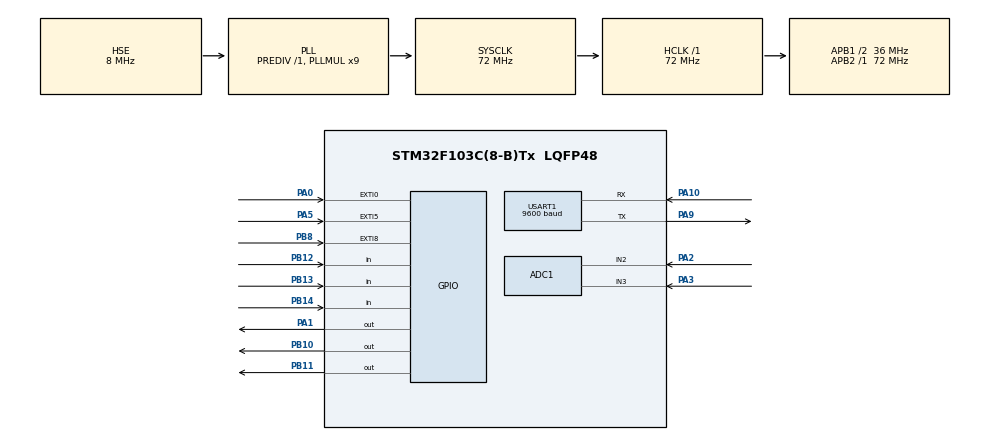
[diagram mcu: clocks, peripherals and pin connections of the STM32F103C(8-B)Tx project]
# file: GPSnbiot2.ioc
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ADC1.Channel-0\#ChannelRegularConversion=ADC_CHANNEL_2
ADC1.Channel-1\#ChannelRegularConversion=ADC_CHANNEL_3
ADC1.ContinuousConvMode=DISABLE
ADC1.DiscontinuousConvMode=ENABLE
ADC1.NbrOfConversion=2
ADC1.NbrOfConversionFlag=1
ADC1.Rank-0\#ChannelRegularConversion=1
ADC1.Rank-1\#ChannelRegularConversion=2
ADC1.SamplingTime-0\#ChannelRegularConversion=ADC_SAMPLETIME_1CYCLE_5
ADC1.SamplingTime-1\#ChannelRegularConversion=ADC_SAMPLETIME_1CYCLE_5
ADC1.master=1
Mcu.Family=STM32F1
Mcu.Name=STM32F103C(8-B)Tx
Mcu.Package=LQFP48
NVIC.EXTI0_IRQn=true\:1\:0\:true\:false\:true\:true\:true
NVIC.PriorityGroup=NVIC_PRIORITYGROUP_4
NVIC.RTC_Alarm_IRQn=true\:1\:0\:true\:false\:true\:true\:true
NVIC.USART1_IRQn=true\:1\:0\:true\:false\:true\:true\:true
PA0-WKUP.Signal=GPXTI0
PA1.GPIO_PuPd=GPIO_PULLUP
PA1.PinState=GPIO_PIN_SET
PA1.Signal=GPIO_Output
PA10.Mode=Asynchronous
PA10.Signal=USART1_RX
PA13.Mode=Serial_Wire
PA13.Signal=SYS_JTMS-SWDIO
PA14.Mode=Serial_Wire
PA14.Signal=SYS_JTCK-SWCLK
PA2.Signal=ADCx_IN2
PA3.Signal=ADCx_IN3
PA5.GPIO_ModeDefaultEXTI=GPIO_MODE_IT_RISING
PA5.GPIO_PuPd=GPIO_PULLDOWN
PA5.Signal=GPXTI5
PA9.Mode=Asynchronous
PA9.Signal=USART1_TX
PB10.Signal=GPIO_Output
PB11.Signal=GPIO_Output
PB12.GPIO_PuPd=GPIO_PULLDOWN
PB12.Signal=GPIO_Input
PB13.GPIO_PuPd=GPIO_PULLDOWN
PB13.Signal=GPIO_Input
PB14.GPIO_PuPd=GPIO_PULLDOWN
PB14.Signal=GPIO_Input
PB8.GPIO_ModeDefaultEXTI=GPIO_MODE_IT_RISING
PB8.GPIO_PuPd=GPIO_PULLDOWN
PB8.Signal=GPXTI8
PD0-OSC_IN.Mode=HSE-External-Oscillator
PD0-OSC_IN.Signal=RCC_OSC_IN
PD1-OSC_OUT.Mode=HSE-External-Oscillator
PD1-OSC_OUT.Signal=RCC_OSC_OUT
ProjectManager.HeapSize=0x200
ProjectManager.StackSize=0x400
ProjectManager.TargetToolchain=MDK-ARM V5.32
RCC.ADCPresc=RCC_ADCPCLK2_DIV6
RCC.AHBFreq_Value=72000000
RCC.APB1CLKDivider=RCC_HCLK_DIV2
RCC.APB1Freq_Value=36000000
RCC.APB1TimFreq_Value=72000000
RCC.APB2Freq_Value=72000000
RCC.APB2TimFreq_Value=72000000
RCC.HCLKFreq_Value=72000000
RCC.PLLMUL=RCC_PLL_MUL9
RCC.PLLSourceVirtual=RCC_PLLSOURCE_HSE
RCC.SYSCLKFreq_VALUE=72000000
RCC.SYSCLKSource=RCC_SYSCLKSOURCE_PLLCLK
RCC.USBFreq_Value=72000000
RTC.Date=1
RTC.Format=RTC_FORMAT_BIN
RTC.Hours=0
RTC.Month=RTC_MONTH_JUNE
RTC.OutPut=RTC_OUTPUTSOURCE_ALARM
RTC.WeekDay=RTC_WEEKDAY_SUNDAY
RTC.Year=0
SH.ADCx_IN2.0=ADC1_IN2,IN2
SH.ADCx_IN3.0=ADC1_IN3,IN3
USART1.BaudRate=9600
USART1.VirtualMode=VM_ASYNC
VP_RTC_VS_RTC_Activate.Mode=RTC_Enabled
VP_RTC_VS_RTC_Calendar.Mode=RTC_Calendar
board=custom

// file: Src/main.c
/* USER CODE BEGIN Header */
/**
 ******************************************************************************
 * @file           : main.c
 * @brief          : Main program body
 ******************************************************************************
 * @attention
 *
 * <h2><center>&copy; Copyright (c) 2024 STMicroelectronics.
 * All rights reserved.</center></h2>
 *
 * This software component is licensed by ST under BSD 3-Clause license,
 * the "License"; You may not use this file except in compliance with the
 * License. You may obtain a copy of the License at:
 *                        opensource.org/licenses/BSD-3-Clause
 *
 ******************************************************************************
 */
/* USER CODE END Header */
#include "main.h"
#include "adc.h"
#include "rtc.h"
#include "usart.h"
#include "gpio.h"

/* USER CODE BEGIN Includes */
#include "config.h"
#include "nbiot.h"
#include "pack.h"
#include "sample.h"
#include "stdio.h"
#include "string.h"
#include <stdlib.h>

/* USER CODE END Includes */

/* USER CODE BEGIN PTD */

uint32_t ADC_Buffer[ADC_CHANNELS];
OneThunderData OneDate;
/* USER CODE END PTD */

/* USER CODE BEGIN PV */

uint8_t dev_state = DEV_INIT;
uint8_t RTC_Alarm_flag = 0;
uint32_t rdy_send_time = 0;
uint8_t sample_flag = 0;
uint8_t enter_stop = 0;
uint32_t uuid = 0x0;
extern uint16_t battery;
extern uint32_t thunder1;
extern ThunderData payload[PAYLOAD_MAX_SIZE];
extern UPackage package;
const char *cmd1 = "+++";
const char *cmd2 = "AT+CFUN=1,1\r\n";
const char *cmd3 = "ATO\r\n";
uint32_t CpuID[3];							//小端模式
uint32_t hashed_value = 0;
uint32_t timeout_counter = 0;

/* USER CODE END PV */

void SystemClock_Config(void);

/* USER CODE BEGIN 0 */
uint32_t rtc_ts = 0;

/* USER CODE END 0 */

int main(void)
{

  /* MCU Configuration--------------------------------------------------------*/

  /* Reset of all peripherals, Initializes the Flash interface and the Systick. */
  HAL_Init();

  /* USER CODE BEGIN Init */
//  uuid = HAL_GetDEVID();
  /* USER CODE END Init */

  /* Configure the system clock */
  SystemClock_Config();

  /* USER CODE BEGIN SysInit */
  dev_state = DEV_INIT;
  /* USER CODE END SysInit */

  /* Initialize all configured peripherals */
  MX_GPIO_Init();
  MX_ADC1_Init();
  MX_USART1_UART_Init();
  MX_RTC_Init();
  /* USER CODE BEGIN 2 */
  dev_state = DEV_WORK;
  RTC_Set_Alarm();
  init_package();
	GetChipID();
	hashed_value = hash_cpu_id(CpuID[0], CpuID[1], CpuID[2]);
	hashed_value = hashed_value * 10;
  while (1) {
    // RTC clk will use LSE (now LSI 40Khz is not accurate)
    rtc_ts = RTC_Get_Timestamp();
//    static int RTC_LED = 1;

    if (RTC_Alarm_flag == 1) {
//      HAL_GPIO_WritePin(GPIOB, GPIO_PIN_10, RTC_LED);
//	  HAL_GPIO_WritePin(GPIOB, GPIO_PIN_11, (RTC_LED) ? GPIO_PIN_SET : GPIO_PIN_RESET);
//      RTC_LED = !RTC_LED;
//		rdy_send_time = uwTick;
      // Send data if connected to server
//      if (IO_NB_NETMODE && IO_NB_LINK) {
		if (IO_NB_LINK) {
				sample_adc(0);
				send_package(battery, RTC_Get_Timestamp());
				HAL_Delay(5000);
				RTC_Set_Alarm();
				RTC_Alarm_flag = 0;}
       else {
        // 1. Reset NBIOT_DTU If timeout (60s)
        if (uwTick - rdy_send_time >= 1000 * 60) {
				HAL_GPIO_WritePin(GPIOA,GPIO_PIN_1,GPIO_PIN_RESET);
				HAL_GPIO_WritePin(GPIOA,GPIO_PIN_1,GPIO_PIN_SET);
        }
        // 2. Reset Fail, cancel sending task and enter low-power mode
        else if (uwTick - rdy_send_time >= 1000 * 120) {
          RTC_Set_Alarm();
          RTC_Alarm_flag = 0;
        }
      }
    }
    // Here feed watchdog (enbale it when everything is finished)
    // Feed();

    // No more task:
    if (!sample_flag && !RTC_Alarm_flag) {
      // 1. MCU and NB-iot Enter low-power mode

       sys_enter_stop_mode();

      // 2. Recovery MCU and NB-iot state
       sys_out_stop_mode();
		if(sample_flag == 1){
			sample_adc(1);
			HAL_UART_Transmit(&huart1,(uint8_t*)&thunder1,sizeof(thunder1),100);
			HAL_UART_Transmit(&huart1,(uint8_t*)&battery,sizeof(battery),100);
			}
		}
		sample_flag = 0;
    }
  }

  /* USER CODE END 2 */

  /* Infinite loop */

void SystemClock_Config(void)
{
  RCC_OscInitTypeDef RCC_OscInitStruct = {0};
  RCC_ClkInitTypeDef RCC_ClkInitStruct = {0};
  RCC_PeriphCLKInitTypeDef PeriphClkInit = {0};

  /** Initializes the RCC Oscillators according to the specified parameters
  * in the RCC_OscInitTypeDef structure.
  */
  RCC_OscInitStruct.OscillatorType = RCC_OSCILLATORTYPE_LSI|RCC_OSCILLATORTYPE_HSE;
  RCC_OscInitStruct.HSEState = RCC_HSE_ON;
  RCC_OscInitStruct.HSEPredivValue = RCC_HSE_PREDIV_DIV1;
  RCC_OscInitStruct.HSIState = RCC_HSI_ON;
  RCC_OscInitStruct.LSIState = RCC_LSI_ON;
  RCC_OscInitStruct.PLL.PLLState = RCC_PLL_ON;
  RCC_OscInitStruct.PLL.PLLSource = RCC_PLLSOURCE_HSE;
  RCC_OscInitStruct.PLL.PLLMUL = RCC_PLL_MUL9;
  if (HAL_RCC_OscConfig(&RCC_OscInitStruct) != HAL_OK)
  {
    Error_Handler();
  }
  /** Initializes the CPU, AHB and APB buses clocks
  */
  RCC_ClkInitStruct.ClockType = RCC_CLOCKTYPE_HCLK|RCC_CLOCKTYPE_SYSCLK
                              |RCC_CLOCKTYPE_PCLK1|RCC_CLOCKTYPE_PCLK2;
  RCC_ClkInitStruct.SYSCLKSource = RCC_SYSCLKSOURCE_PLLCLK;
  RCC_ClkInitStruct.AHBCLKDivider = RCC_SYSCLK_DIV1;
  RCC_ClkInitStruct.APB1CLKDivider = RCC_HCLK_DIV2;
  RCC_ClkInitStruct.APB2CLKDivider = RCC_HCLK_DIV1;

  if (HAL_RCC_ClockConfig(&RCC_ClkInitStruct, FLASH_LATENCY_2) != HAL_OK)
  {
    Error_Handler();
  }
  PeriphClkInit.PeriphClockSelection = RCC_PERIPHCLK_RTC|RCC_PERIPHCLK_ADC;
  PeriphClkInit.RTCClockSelection = RCC_RTCCLKSOURCE_LSI;
  PeriphClkInit.AdcClockSelection = RCC_ADCPCLK2_DIV6;
  if (HAL_RCCEx_PeriphCLKConfig(&PeriphClkInit) != HAL_OK)
  {
    Error_Handler();
  }
}

/* USER CODE BEGIN 4 */
void HAL_GPIO_EXTI_Callback(uint16_t GPIO_Pin){
	if (GPIO_Pin == GPIO_PIN_0){
		sample_flag = 1;
//		sample_adc(1);
////		OneDate.battery = battery;
////		OneDate.thunder1 = thunder1;
////		OneDate.timestamp = RTC_Get_Timestamp();
////		OneDate.uuid = hashed_value;
//		HAL_UART_Transmit(&huart1,(uint8_t*)&hashed_value,sizeof(hashed_value),100);
//		HAL_UART_Transmit(&huart1,(uint8_t*)&thunder1,sizeof(thunder1),100);
//		HAL_UART_Transmit(&huart1,(uint8_t*)&battery,sizeof(battery),100);
////		HAL_UART_Transmit(&huart1,(uint8_t*)&OneDate,sizeof(OneDate),100);
////		sample_flag = 0;
}
}

void sys_enter_stop_mode(void) {
  __HAL_RCC_PWR_CLK_ENABLE();
  __HAL_RCC_BKP_CLK_ENABLE();

  HAL_PWR_DisableWakeUpPin(PWR_WAKEUP_PIN1);
  __HAL_PWR_CLEAR_FLAG(PWR_FLAG_WU);

  enter_stop = 1;

  HAL_PWR_EnableWakeUpPin(PWR_WAKEUP_PIN1);
  HAL_SuspendTick();
	HAL_GPIO_WritePin(GPIOA,GPIO_PIN_1,GPIO_PIN_RESET);

  HAL_PWR_EnterSTOPMode(PWR_LOWPOWERREGULATOR_ON, PWR_STOPENTRY_WFI);
	  // 1. 等待UART发送完成
//  while (huart1.gState != HAL_UART_STATE_READY) {
//    __NOP();
//  }

//  // 2. 关闭外设时钟（降低功耗）
//  __HAL_RCC_ADC1_CLK_DISABLE();
//  __HAL_RCC_USART1_CLK_DISABLE();

//  // 3. 配置唤醒源
//  HAL_PWR_DisableWakeUpPin(PWR_WAKEUP_PIN1);
//  __HAL_PWR_CLEAR_FLAG(PWR_FLAG_WU);
//  HAL_PWR_EnableWakeUpPin(PWR_WAKEUP_PIN1);

//  // 4. 关闭NB-IoT模块电源（确保发送完成后）
//  HAL_GPIO_WritePin(GPIOA, GPIO_PIN_1, GPIO_PIN_RESET);

//  // 5. 进入停机模式
//  HAL_SuspendTick();
//  HAL_PWR_EnterSTOPMode(PWR_LOWPOWERREGULATOR_ON, PWR_STOPENTRY_WFI);
}
void sys_out_stop_mode(void) {
  SystemClock_Config();
  MX_GPIO_Init();
  MX_ADC1_Init();
  MX_USART1_UART_Init();
  HAL_ResumeTick();
	  // 1. 恢复时钟（确保HSE/PLL稳定）
//  SystemClock_Config();

//  // 2. 重新启用关键外设时钟
//  __HAL_RCC_GPIOA_CLK_ENABLE();
//  __HAL_RCC_USART1_CLK_ENABLE();

//  // 3. 重新初始化GPIO（确保UART引脚复用）
//  MX_GPIO_Init();

//  // 4. 重新初始化UART（恢复波特率等配置）
//  MX_USART1_UART_Init();

//  // 5. 恢复NB-IoT模块电源
//  HAL_GPIO_WritePin(GPIOA, GPIO_PIN_1, GPIO_PIN_SET);
//    HAL_Delay(1000); // 等待NB-IoT模块启动

//  // 6. 恢复系统节拍定时器
//  HAL_ResumeTick();
}
void GetChipID ( void )
{
    CpuID[0] = * ( uint32_t * ) ( 0x1ffff7e8 ); //高32位地址
    CpuID[1] = * ( uint32_t * ) ( 0x1ffff7ec ); //中32位地址
    CpuID[2] = * ( uint32_t * ) ( 0x1ffff7f0 ); //低32位地址
}
uint32_t murmur3_32_simple(uint32_t k) {
    k ^= k >> 16;
    k *= 0x85ebca6b;
    k ^= k >> 13;
    k *= 0xc2b2ae35;
    k ^= k >> 16;
    return k;
}
uint32_t hash_cpu_id(uint32_t cpu_id0, uint32_t cpu_id1, uint32_t cpu_id2) {
    uint64_t combined_id = ((uint64_t)cpu_id0 << 32) | cpu_id1;
    combined_id ^= cpu_id2;

    uint32_t hash = murmur3_32_simple(combined_id & 0xFFFFFFFF);
    hash ^= murmur3_32_simple(combined_id >> 32);

    // 取模到 0-999999
    return hash % 1000000;
}
/* USER CODE END 4 */

void Error_Handler(void)
{
  __disable_irq();
  while (1) {
  }
}

#ifdef  USE_FULL_ASSERT
/**
  * @brief  Reports the name of the source file and the source line number
  *         where the assert_param error has occurred.
  * @param  file: pointer to the source file name
  * @param  line: assert_param error line source number
  * @retval None
  */
void assert_failed(uint8_t *file, uint32_t line)
{
  /* USER CODE BEGIN 6 */
  /* User can add his own implementation to report the file name and line
     number, ex: printf("Wrong parameters value: file %s on line %d\r\n", file,
     line) */
  /* USER CODE END 6 */
}
#endif /* USE_FULL_ASSERT */

/************************ (C) COPYRIGHT STMicroelectronics *****END OF FILE****/
